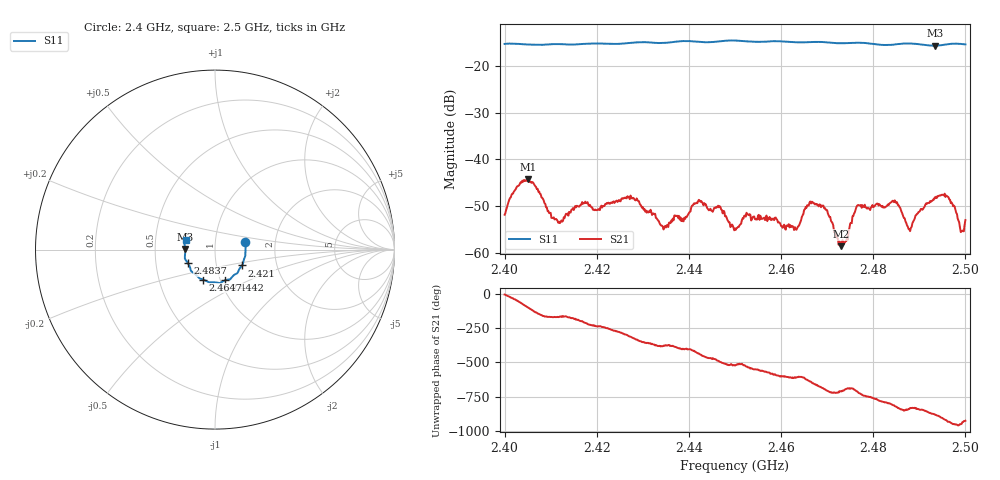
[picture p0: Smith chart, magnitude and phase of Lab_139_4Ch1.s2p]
# Hz S RI R 50
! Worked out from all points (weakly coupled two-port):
!   601 points, 2.4 GHz to 2.5 GHz, reference 50 ohm
!   highest |S21| = -44.29 dB at 2.405 GHz (marker M1); lowest = -58.6 dB at 2.473 GHz (marker M2)
!   lowest |S11| = -15.6 dB at 2.4933 GHz (marker M3), VSWR 1.40, Z = 35.8 + j0.0513 ohm
!   |S11| at or under -10 dB: start of sweep to end of sweep
!   S12 and S22 are empty: the file has one direction only
!   S11 on the Smith chart (normalised r, x): 2.4 GHz: 1.40, +0.12; 2.421 GHz: 1.33, -0.24; 2.4442 GHz: 1.05, -0.37; 2.4647 GHz: 0.83, -0.29; 2.4837 GHz: 0.73, -0.11; 2.5 GHz: 0.72, +0.08
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2.4e9  0.1682 0.0407  0.00254 -0.000268  0 0  0 0
2.405e9  0.1702 0.00927  -0.000976 -0.00602  0 0  0 0
2.411667e9  0.1683 -0.0368  -0.00206 -0.000347  0 0  0 0
2.416667e9  0.1585 -0.0682  -0.00308 0.00115  0 0  0 0
2.421e9  0.1506 -0.0881  -0.00158 0.00277  0 0  0 0
2.427167e9  0.13 -0.1201  0.00248 0.00281  0 0  0 0
2.433333e9  0.108 -0.1402  0.00206 -0.000804  0 0  0 0
2.444167e9  0.0568 -0.1712  -0.00088 -0.00279  0 0  0 0
2.45e9  0.0244 -0.1865  -0.00174 -0.000539  0 0  0 0
2.452833e9  0.00997 -0.1836  -0.00255 -0.000122  0 0  0 0
2.463167e9  -0.0554 -0.1715  -0.000533 0.0017  0 0  0 0
2.464667e9  -0.0672 -0.1668  -0.000891 0.00235  0 0  0 0
2.466667e9  -0.0802 -0.1625  0.00106 0.00336  0 0  0 0
2.469667e9  -0.0922 -0.155  0.00273 0.000976  0 0  0 0
2.473e9  -0.1076 -0.139  0.00116 0.000215  0 0  0 0
2.476833e9  -0.1316 -0.1206  0.00324 -0.00015  0 0  0 0
2.483333e9  -0.1503 -0.0762  0.000745 -0.00315  0 0  0 0
2.483667e9  -0.152 -0.0733  0.000588 -0.00337  0 0  0 0
2.487833e9  -0.168 -0.0484  -0.000873 -0.00155  0 0  0 0
2.493333e9  -0.1658 0.000697  -0.00364 -0.00144  0 0  0 0
2.496e9  -0.1693 0.0259  -0.00365 0.00177  0 0  0 0
2.5e9  -0.1627 0.0526  -0.00203 0.000945  0 0  0 0
